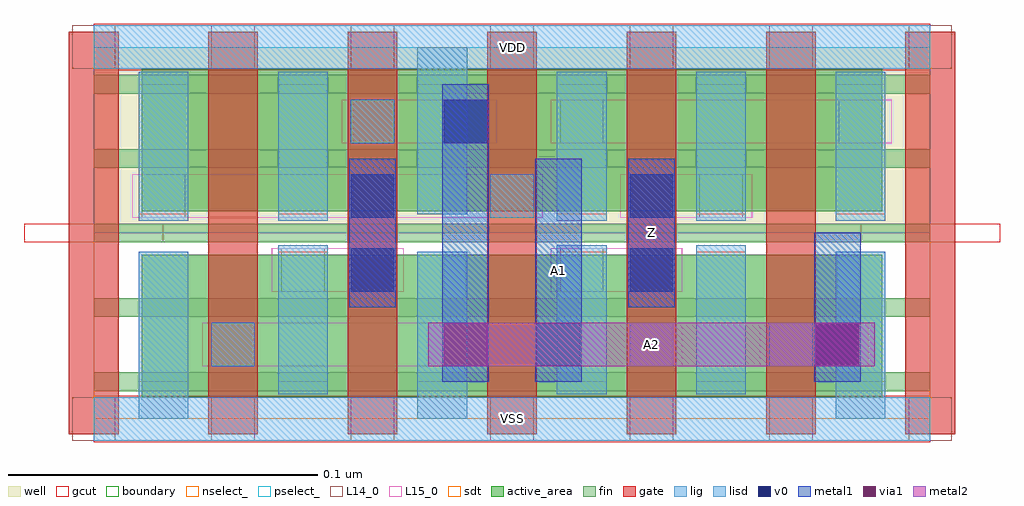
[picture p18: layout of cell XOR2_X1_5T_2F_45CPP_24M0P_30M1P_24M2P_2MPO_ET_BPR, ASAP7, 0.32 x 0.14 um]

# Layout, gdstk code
import gdstk
lib = gdstk.Library(unit=1e-6, precision=2.5e-10)
def R(c, l, rs):  # rectangles x0, y0, x1, y1
    for r in rs: c.add(gdstk.rectangle(r[:2], r[2:], *l))
def A(c, l, x, y, w, h, nx, ny, dx, dy):  # array of equal rectangles
    R(c, l, [(x+i*dx, y+j*dy, x+i*dx+w, y+j*dy+h) for i in range(nx) for j in range(ny)])
well = (1, 0)
fin = (2, 0)
gate = (7, 0)
gcut = (10, 0)
active_area = (11, 0)
nselect_ = (12, 0)
pselect_ = (13, 0)
L14_0 = (14, 0)
L15_0 = (15, 0)
lig = (16, 0)
lisd = (17, 0)
v0 = (18, 0)
metal1 = (19, 0)
metal2 = (20, 0)
via1 = (21, 0)
sdt = (88, 0)
boundary = (100, 0)

xor2_x1_5t_2f_45cpp_24m0 = lib.new_cell('XOR2_X1_5T_2F_45CPP_24M0P_30M1P_24M2P_2MPO_ET_BPR')
R(xor2_x1_5t_2f_45cpp_24m0, well, [(0,0.06,0.27,0.12)])
A(xor2_x1_5t_2f_45cpp_24m0, fin, 0, 0.009, 0.27, 0.006, 1, 5, 0, 0.024)
A(xor2_x1_5t_2f_45cpp_24m0, gate, -0.008, -0.005, 0.016, 0.13, 7, 1, 0.045, 0)
R(xor2_x1_5t_2f_45cpp_24m0, gcut, [(0,-0.0075,0.27,0.0075), (-0.0225,0.057,0.0225,0.063), (0.2475,0.057,0.2925,0.063), (0,0.1125,0.27,0.1275)])
A(xor2_x1_5t_2f_45cpp_24m0, active_area, 0.0155, 0.007, 0.059, 0.046, 5, 2, 0.045, 0.06)
R(xor2_x1_5t_2f_45cpp_24m0, nselect_, [(0,0,0.27,0.06)])
R(xor2_x1_5t_2f_45cpp_24m0, pselect_, [(0,0.06,0.27,0.12)])
A(xor2_x1_5t_2f_45cpp_24m0, L14_0, -0.007, -0.007, 0.014, 0.014, 7, 2, 0.045, 0.12)
R(xor2_x1_5t_2f_45cpp_24m0, L14_0, [(0.038,0.017,0.052,0.031), (0.173,0.017,0.187,0.031), (0.218,0.017,0.232,0.031), (0.0605,0.041,0.0745,0.055), (0.1505,0.041,0.1645,0.055), (0.0155,0.065,0.0295,0.079), (0.128,0.065,0.142,0.079), (0.1955,0.065,0.2095,0.079), (0.083,0.089,0.097,0.103), (0.1505,0.089,0.1645,0.103), (0.2405,0.089,0.2545,0.103)])
R(xor2_x1_5t_2f_45cpp_24m0, L15_0, [(0,-0.007,0.27,0.007), (0.035,0.017,0.19,0.031), (0.215,0.017,0.25,0.031), (0.0575,0.041,0.1,0.055), (0.1475,0.041,0.19,0.055), (0.0125,0.065,0.145,0.079), (0.17,0.065,0.2125,0.079), (0.08,0.089,0.13,0.103), (0.1475,0.089,0.2575,0.103), (0,0.113,0.27,0.127)])
R(xor2_x1_5t_2f_45cpp_24m0, lig, [(0,-0.007,0.27,0.007), (0.038,0.017,0.052,0.031), (0.173,0.017,0.187,0.031), (0.218,0.017,0.232,0.031), (0.128,0.065,0.142,0.079), (0.083,0.089,0.097,0.103), (0,0.113,0.27,0.127)])
A(xor2_x1_5t_2f_45cpp_24m0, lisd, 0.1495, 0.064, 0.016, 0.048, 3, 1, 0.045, 0)
R(xor2_x1_5t_2f_45cpp_24m0, lisd, [(0.0145,0,0.0305,0.054), (0.1045,0,0.1205,0.054), (0.2395,0,0.2555,0.054), (0.0595,0.008,0.0755,0.056), (0.1495,0.008,0.1655,0.056), (0.1945,0.008,0.2105,0.056), (0.0145,0.064,0.0305,0.112), (0.0595,0.064,0.0755,0.112), (0.1045,0.066,0.1205,0.12)])
R(xor2_x1_5t_2f_45cpp_24m0, v0, [(0.143,0.017,0.157,0.031), (0.233,0.017,0.247,0.031), (0.083,0.041,0.097,0.055), (0.173,0.041,0.187,0.055), (0.083,0.065,0.097,0.079), (0.173,0.065,0.187,0.079), (0.113,0.089,0.127,0.103)])
R(xor2_x1_5t_2f_45cpp_24m0, metal1, [(0.1125,0.012,0.1275,0.108), (0.1425,0.012,0.1575,0.084), (0.2325,0.012,0.2475,0.06), (0.0825,0.036,0.0975,0.084), (0.1725,0.036,0.1875,0.084)])
R(xor2_x1_5t_2f_45cpp_24m0, metal2, [(0.108,0.017,0.252,0.031)])
R(xor2_x1_5t_2f_45cpp_24m0, via1, [(0.113,0.017,0.127,0.031), (0.233,0.017,0.247,0.031)])
A(xor2_x1_5t_2f_45cpp_24m0, sdt, 0.0145, 0.012, 0.016, 0.042, 6, 2, 0.045, 0.054)
R(xor2_x1_5t_2f_45cpp_24m0, boundary, [(0,0,0.27,0.12)])
xor2_x1_5t_2f_45cpp_24m0.add(gdstk.Label('Z', (0.18,0.06), layer=19, texttype=251))
xor2_x1_5t_2f_45cpp_24m0.add(gdstk.Label('A1', (0.15,0.048), layer=19, texttype=251))
xor2_x1_5t_2f_45cpp_24m0.add(gdstk.Label('A2', (0.18,0.024), layer=20, texttype=251))
xor2_x1_5t_2f_45cpp_24m0.add(gdstk.Label('VDD', (0.135,0.12), layer=15, texttype=251))
xor2_x1_5t_2f_45cpp_24m0.add(gdstk.Label('VSS', (0.135,0), layer=15, texttype=251))
xor2_x1_5t_2f_45cpp_24m0.add(gdstk.Label('VDD', (0.135,0.12), layer=1, texttype=251))
xor2_x1_5t_2f_45cpp_24m0.add(gdstk.Label('VSS', (0.135,0), layer=3, texttype=251))

lib.write_gds('XOR2_X1_5T_2F_45CPP_24M0P_30M1P_24M2P_2MPO_ET_BPR.gds')
